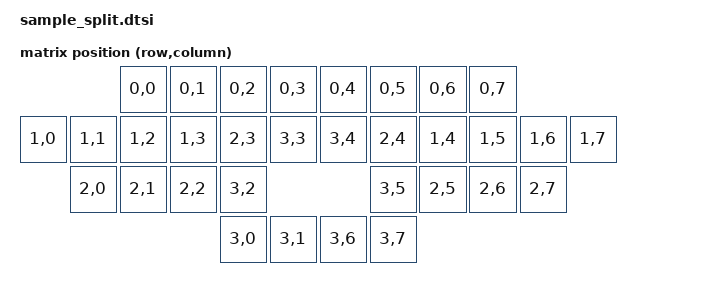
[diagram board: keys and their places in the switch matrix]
#include <dt-bindings/zmk/matrix_transform.h>

/ {
    chosen {
        zmk,kscan = &kscan0;
        zmk,matrix_transform = &sample_split_transform;
        zmk,physical-layout = &sample_split_layout;
    };

    sample_split_transform: keymap_transform_0 {
        compatible = "zmk,matrix-transform";
        rows = <7>;
        columns = <8>;
        map = <
                            RC(0,0) RC(0,1) RC(0,2) RC(0,3)     RC(0,4) RC(0,5) RC(0,6) RC(0,7)
            RC(1,0) RC(1,1) RC(1,2) RC(1,3) RC(2,3) RC(3,3)     RC(3,4) RC(2,4) RC(1,4) RC(1,5) RC(1,6) RC(1,7)
                    RC(2,0) RC(2,1) RC(2,2) RC(3,2)                     RC(3,5) RC(2,5) RC(2,6) RC(2,7)
                                            RC(3,0) RC(3,1)     RC(3,6) RC(3,7)
        >;
    };

    kscan0: kscan_0 {
        compatible = "zmk,kscan-gpio-matrix";
        label = "KSCAN";
        diode-direction = "row2col";
    };

    sample_split_layout: physical_layout_0 {
        compatible = "zmk,physical-layout";
        display-name = "Default Layout";
        transform = <&sample_split_transform>;
    };
};
